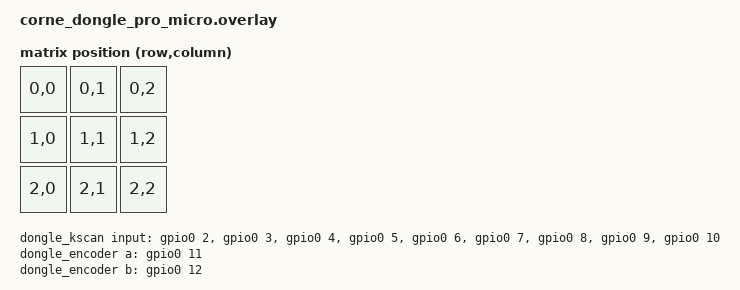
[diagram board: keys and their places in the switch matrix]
/*
 * Dongle + Macropad Overlay
 * Baseado no seu repo crkbd-config + suporte a 3x3 macropad + encoder + OLED
 */

#include <dt-bindings/zmk/matrix_transform.h>

/ {
    chosen {
        zephyr,display = &oled;
        // Junta o kscan do Corne + Dongle no mesmo firmware
        zmk,kscan = &mock_kscan, &dongle_kscan;
        zmk,physical-layout = &foostan_corne_6col_layout, &dongle_layout;
    };

    /*
     * Layout do dongle/macropad (3x3 = 9 posições).
     * Se você usar só 8 botões, basta deixar 1 sem soldar e ignorar.
     */
    dongle_layout: keymap_transform_dongle {
        compatible = "zmk,matrix-transform";
        columns = <3>;
        rows = <3>;
        map = <
            RC(0,0) RC(0,1) RC(0,2)
            RC(1,0) RC(1,1) RC(1,2)
            RC(2,0) RC(2,1) RC(2,2)
        >;
    };

    /*
     * Definição do scanner do macropad.
     * Aqui você troca os pinos de acordo com onde ligar no nice!nano.
     * Exemplo: P0.02, P0.03, P0.04... até P0.10.
     */
    dongle_kscan: kscan_dongle {
        compatible = "zmk,kscan-gpio-direct";
        input-gpios =
            <&gpio0 2 (GPIO_ACTIVE_LOW | GPIO_PULL_UP)>,  /* linha 0, col 0 */
            <&gpio0 3 (GPIO_ACTIVE_LOW | GPIO_PULL_UP)>,  /* linha 0, col 1 */
            <&gpio0 4 (GPIO_ACTIVE_LOW | GPIO_PULL_UP)>,  /* linha 0, col 2 */
            <&gpio0 5 (GPIO_ACTIVE_LOW | GPIO_PULL_UP)>,  /* linha 1, col 0 */
            <&gpio0 6 (GPIO_ACTIVE_LOW | GPIO_PULL_UP)>,  /* linha 1, col 1 */
            <&gpio0 7 (GPIO_ACTIVE_LOW | GPIO_PULL_UP)>,  /* linha 1, col 2 */
            <&gpio0 8 (GPIO_ACTIVE_LOW | GPIO_PULL_UP)>,  /* linha 2, col 0 */
            <&gpio0 9 (GPIO_ACTIVE_LOW | GPIO_PULL_UP)>,  /* linha 2, col 1 */
            <&gpio0 10 (GPIO_ACTIVE_LOW | GPIO_PULL_UP)>; /* linha 2, col 2 */
    };

    /*
     * Encoder EC11
     * A, B = sinais quadratura
     * Resolução = 4 (passos por detecção)
     * Pino "click" pode ser adicionado como outra entrada no kscan se você quiser
     */
    dongle_encoder: encoder_0 {
        compatible = "alps,ec11";
        a-gpios = <&gpio0 11 (GPIO_ACTIVE_LOW | GPIO_PULL_UP)>;
        b-gpios = <&gpio0 12 (GPIO_ACTIVE_LOW | GPIO_PULL_UP)>;
        resolution = <4>;
    };
};

/* OLED já está configurado no seu repo (ssd1306 @ 0x3c via I2C do nice!nano) */
